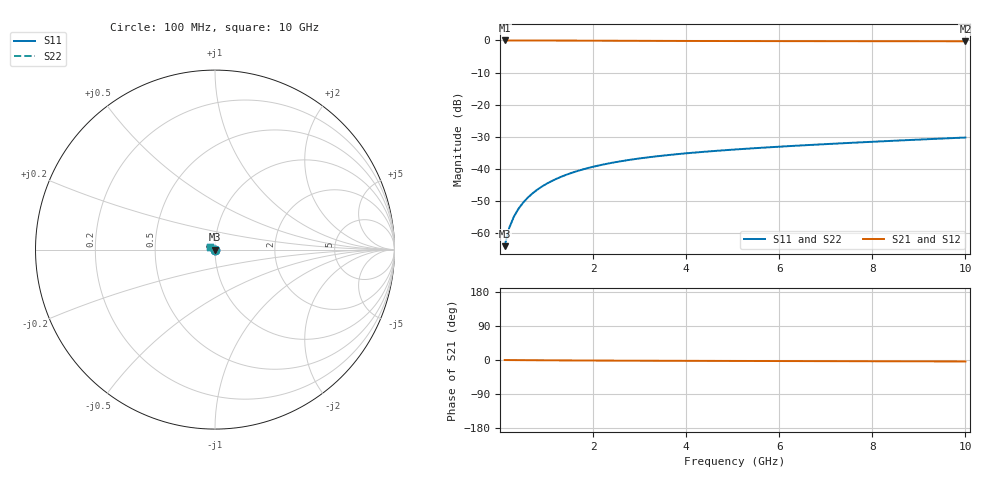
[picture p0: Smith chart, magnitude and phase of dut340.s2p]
! Touchstone file exported from HFSS 2024.1.0
!  File:  C:/UserFiles/LocalFiles/RDL_TSV_Batchsim/temp_TSV1_340_1779618847.aedt
!  Generated:  06:40:22 PM May 24, 2026
!  Design:  TSV1
!  Project:  temp_TSV1_340_1779618847
!  Setup:  Setup1
!  Solution:  Sweep
! Variables:
!  dtsv = 7.99um
!  hbump = 3um
!  htsv = 53.08um
!  lrdl = 252.1521522um
!  p = 40
!  p1 = 57.85um
!  t = 500um
!  trdl = 3um
!  wrdl = 24.89489489um
# GHz S MA R 50.000000
! Terminal data exported
! Port[1] = TSV22_T1
! Port[2] = TSV22_T2
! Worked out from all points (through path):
!   100 points, 100 MHz to 10 GHz, reference 50 ohm
!   highest |S21| = 0.00 dB at 100 MHz (marker M1); lowest = -0.3 dB at 10 GHz (marker M2)
!   lowest |S11| = -64.0 dB at 100 MHz (marker M3), VSWR 1.00, Z = 50 - j0.0614 ohm
!   |S11| at or under -10 dB: start of sweep to end of sweep
!   |S22| runs from -64.0 to -30.2 dB; largest |S21 - S12| = 2.1e-16
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0.1  0.0006329 -76.0  0.9998 -0.1  0.9998 -0.1  0.0006329 -76.0
! Gamma 0 0 0 0
! Port Impedance 50 0 50 0
0.2  0.001226 -86.6  0.9997 -0.2  0.9997 -0.2  0.001226 -86.6
0.3  0.001826 -91.8  0.9996 -0.3  0.9996 -0.3  0.001826 -91.8
0.4  0.002425 -95.6  0.9994 -0.3  0.9994 -0.3  0.002425 -95.6
0.5  0.00302 -98.9  0.9991 -0.4  0.9991 -0.4  0.00302 -98.9
0.6  0.003611 -101.8  0.9988 -0.5  0.9988 -0.5  0.003611 -101.8
0.7  0.004195 -104.6  0.9985 -0.6  0.9985 -0.6  0.004195 -104.6
0.8  0.004773 -107.3  0.9981 -0.7  0.9981 -0.7  0.004773 -107.3
0.9  0.005341 -109.8  0.9977 -0.7  0.9977 -0.7  0.005341 -109.8
1.1  0.00645 -114.7  0.9968 -0.9  0.9968 -0.9  0.00645 -114.7
1.4  0.008029 -121.5  0.9953 -1.1  0.9953 -1.1  0.008029 -121.5
1.6  0.009021 -125.9  0.9942 -1.2  0.9942 -1.2  0.009021 -125.9
1.8  0.009963 -130.0  0.993 -1.3  0.993 -1.3  0.009963 -130.0
2.1  0.01128 -136.0  0.9913 -1.5  0.9913 -1.5  0.01128 -136.0
2.5  0.01288 -143.3  0.989 -1.7  0.989 -1.7  0.01288 -143.3
2.9  0.0143 -150.1  0.9869 -1.8  0.9869 -1.8  0.0143 -150.1
3.4  0.01589 -157.8  0.9845 -2.0  0.9845 -2.0  0.01589 -157.8
4.2  0.0181 -168.5  0.9813 -2.3  0.9813 -2.3  0.0181 -168.5
5.1  0.02028 -178.8  0.9785 -2.5  0.9785 -2.5  0.02028 -178.8
6.7  0.02379 166.7  0.9752 -2.9  0.9752 -2.9  0.02379 166.7
8.4  0.02744 154.9  0.9729 -3.4  0.9729 -3.4  0.02744 154.9
10  0.03096 146.2  0.9713 -3.8  0.9713 -3.8  0.03096 146.2
